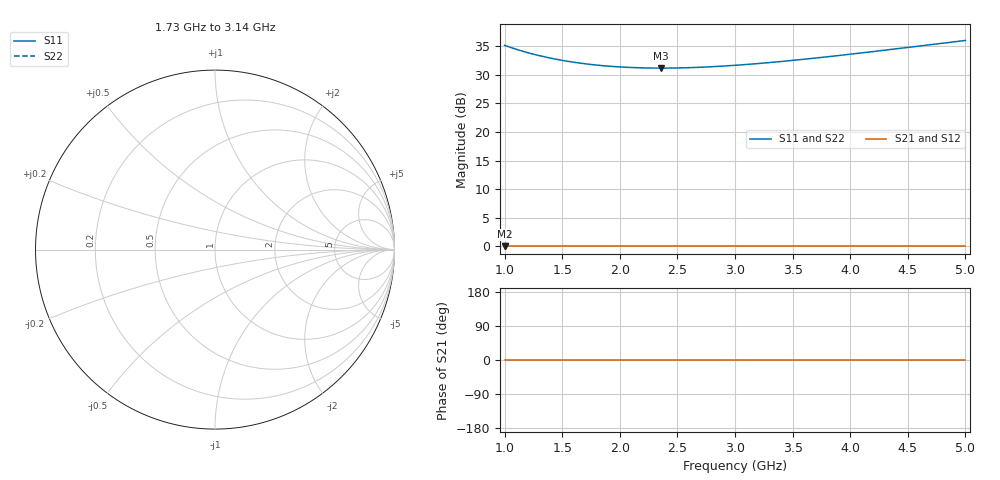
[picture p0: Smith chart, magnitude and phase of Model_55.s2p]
# GHZ S RI R 50
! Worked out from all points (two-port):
!   401 points, 1 GHz to 5 GHz, reference 50 ohm
!   highest |S21| = 0.00 dB at 1 GHz (marker M1); lowest = 0.0 dB at 1 GHz (marker M2)
!   |S21| within 3 dB of the highest: start of sweep to end of sweep
!   lowest |S11| = 31.2 dB at 2.36 GHz (marker M3)
!   |S11| at or under -10 dB: nowhere
!   |S22| runs from 31.2 to 36.0 dB; largest |S21 - S12| = 0
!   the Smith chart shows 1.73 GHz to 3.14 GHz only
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1  57.45 0  1 0  1 0  57.45 0
1.02  56.5 0  1 0  1 0  56.5 0
1.15  51.24 0  1 0  1 0  51.24 0
1.22  48.95 0  1 0  1 0  48.95 0
1.3  46.7 0  1 0  1 0  46.7 0
1.38  44.78 0  1 0  1 0  44.78 0
1.47  42.96 0  1 0  1 0  42.96 0
1.57  41.29 0  1 0  1 0  41.29 0
1.67  39.93 0  1 0  1 0  39.93 0
1.82  38.38 0  1 0  1 0  38.38 0
1.98  37.27 0  1 0  1 0  37.27 0
2.15  36.57 0  1 0  1 0  36.57 0
2.34  36.29 0  1 0  1 0  36.29 0
2.36  36.29 0  1 0  1 0  36.29 0
2.67  36.82 0  1 0  1 0  36.82 0
3  38.4 0  1 0  1 0  38.4 0
3.33  40.84 0  1 0  1 0  40.84 0
3.67  44.14 0  1 0  1 0  44.14 0
4  48.02 0  1 0  1 0  48.02 0
4.34  52.66 0  1 0  1 0  52.66 0
4.64  57.27 0  1 0  1 0  57.27 0
5  63.4 0  1 0  1 0  63.4 0
